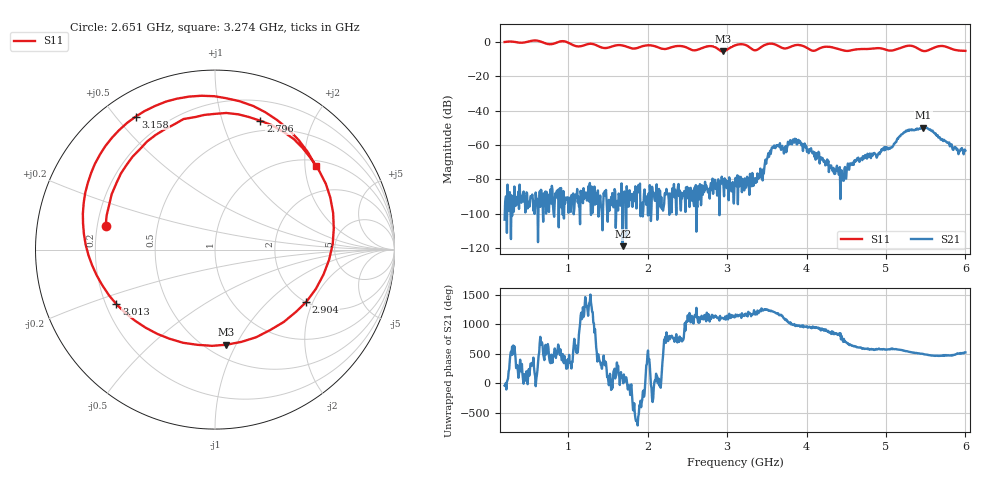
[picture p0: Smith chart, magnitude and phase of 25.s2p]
! NanoVNA-App
! Date: 2024-06-25 16:11:37
! Start: 200MHz Stop: 6GHz Points: 801
! S-Parameter data: F S11 S21 S12 S22
# Hz S RI R 50
!  Frequency  S11_Real  S11_Imag  S21_Real  S21_Imag  S12_Real  S12_Imag  S22_Real  S22_Imag
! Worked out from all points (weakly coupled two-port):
!   801 points, 200 MHz to 6 GHz, reference 50 ohm
!   highest |S21| = -49.78 dB at 5.471 GHz (marker M1); lowest = -118.9 dB at 1.686 GHz (marker M2)
!   lowest |S11| = -5.5 dB at 2.948 GHz (marker M3), VSWR 3.29, Z = 30.8 - j45.7 ohm
!   |S11| at or under -10 dB: nowhere
!   S12 and S22 are empty: the file has one direction only
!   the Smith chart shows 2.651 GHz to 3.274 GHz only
!   S11 on the Smith chart (normalised r, x): 2.651 GHz: 0.23, +0.10; 2.796 GHz: 0.39, +1.34; 2.904 GHz: 2.01, -1.79; 3.013 GHz: 0.24, -0.24; 3.158 GHz: 0.10, +0.56; 3.274 GHz: 1.15, +2.28
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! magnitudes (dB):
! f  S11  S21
! 200 MHz  0.0  -103.4
! 1.171 GHz  -2.3  -90.3
! 1.686 GHz  -2.0  -118.9
! 2.136 GHz  -3.1  -87.9
! 2.651 GHz  -4.1  -88.5
! 2.796 GHz  -2.4  -82.2
! 2.904 GHz  -4.6  -100.8
! 2.948 GHz  -5.5  -80.2
! 3.013 GHz  -4.0  -81.2
! 3.1 GHz  -1.9  -81.9
! 3.158 GHz  -1.3  -84.0
! 3.274 GHz  -2.7  -83.7
! 3.433 GHz  -2.8  -75.1
! 3.593 GHz  -1.2  -60.2
! 3.84 GHz  -2.1  -58.2
! 4.072 GHz  -5.0  -64.5
! 4.441 GHz  -4.6  -74.6
! 4.63 GHz  -4.2  -69.1
! 5.036 GHz  -4.9  -61.7
! 5.253 GHz  -2.4  -51.6
! 5.471 GHz  -5.2  -49.8
! 6 GHz  -5.1  -63.2
